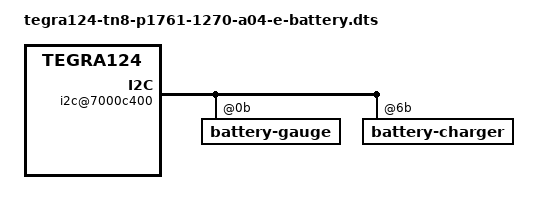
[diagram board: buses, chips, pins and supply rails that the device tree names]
#include "tegra124-tn8-p1761-1270-a04-e-nobattery.dts"

/ {
	nvidia,dtsfilename = __FILE__;

	i2c@7000c400 {
		battery-gauge@0b {
			status = "okay";
		};

		battery-charger@6b {
			charger {
				status = "okay";
			};
		};
	};
};

